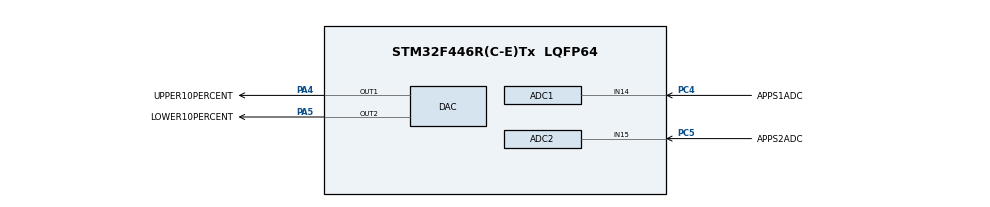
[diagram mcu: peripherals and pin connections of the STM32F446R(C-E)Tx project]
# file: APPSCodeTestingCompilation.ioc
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ADC1.Channel-0\#ChannelRegularConversion=ADC_CHANNEL_14
ADC1.NbrOfConversionFlag=1
ADC1.Rank-0\#ChannelRegularConversion=1
ADC1.SamplingTime-0\#ChannelRegularConversion=ADC_SAMPLETIME_3CYCLES
ADC1.master=1
ADC2.Channel-0\#ChannelRegularConversion=ADC_CHANNEL_15
ADC2.NbrOfConversionFlag=1
ADC2.Rank-0\#ChannelRegularConversion=1
ADC2.SamplingTime-0\#ChannelRegularConversion=ADC_SAMPLETIME_3CYCLES
Mcu.Family=STM32F4
Mcu.Name=STM32F446R(C-E)Tx
Mcu.Package=LQFP64
NVIC.PriorityGroup=NVIC_PRIORITYGROUP_4
NimaLTD.I-CUBE-EE.3.2.2.DriverJjEE=true
NimaLTD.I-CUBE-EE.3.2.2.EE_MANUAL_CONFIG=true
NimaLTD.I-CUBE-EE.3.2.2.EE_SELECTED_ADDRESS=0x08000000
NimaLTD.I-CUBE-EE.3.2.2.EE_SELECTED_PAGE_SECTOR_NUMBER=5
NimaLTD.I-CUBE-EE.3.2.2.EE_SELECTED_PAGE_SECTOR_SIZE=EE_PAGE_SECTOR_SIZE_128K
PA4.GPIO_Label=UPPER10PERCENT
PA4.Signal=COMP_DAC1_group
PA5.GPIO_Label=LOWER10PERCENT
PA5.Signal=COMP_DAC2_group
PC4.GPIO_Label=APPS1ADC
PC4.Signal=ADCx_IN14
PC5.GPIO_Label=APPS2ADC
PC5.Signal=ADCx_IN15
ProjectManager.HeapSize=0x200
ProjectManager.StackSize=0x400
ProjectManager.TargetToolchain=STM32CubeIDE
RCC.CortexFreq_Value=16000000
RCC.USBFreq_Value=96000000
RCC.VCOOutputFreq_Value=192000000
SH.ADCx_IN14.0=ADC1_IN14,IN14
SH.ADCx_IN15.0=ADC2_IN15,IN15
SH.COMP_DAC1_group.0=DAC_OUT1,DAC_OUT1
SH.COMP_DAC2_group.0=DAC_OUT2,DAC_OUT2
VP_NimaLTD.I-CUBE-EE_VS_DriverJjEE_1.0.0_3.2.2.Mode=DriverJjEE
board=custom

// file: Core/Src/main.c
/* USER CODE BEGIN Header */
/**
  ******************************************************************************
  * @file           : main.c
  * @brief          : Main program body
  ******************************************************************************
  * @attention
  *
  * Copyright (c) 2026 STMicroelectronics.
  * All rights reserved.
  *
  * This software is licensed under terms that can be found in the LICENSE file
  * in the root directory of this software component.
  * If no LICENSE file comes with this software, it is provided AS-IS.
  *
  ******************************************************************************
  */
/* USER CODE END Header */
#include "main.h"

/* USER CODE BEGIN Includes */
#include <stdlib.h>
#include <stdio.h>
#include <math.h>

// User made library to handle EEPROM using HAL libraries
// Github Page: https://github.com/nimaltd/ee
#include "ee.h"

/* USER CODE END Includes */

/* USER CODE BEGIN PTD */

typedef struct
{
 uint32_t sens1Lower;
 uint32_t sens2Lower;
 uint32_t sens1Upper;
 uint32_t sens2Upper;

} Storage_t;

/* USER CODE END PTD */

ADC_HandleTypeDef hadc1;
ADC_HandleTypeDef hadc2;

DAC_HandleTypeDef hdac;

/* USER CODE BEGIN PV */

Storage_t ee;

uint8_t X = 0;
volatile uint8_t EEWriteLatch = 0;

double sensAcceptibleDiff = 0.1;

//  Low to High Sensor
volatile uint16_t sens1PB0;

// High to Low Sensor
volatile uint16_t sens2PB1;

/* USER CODE END PV */

void SystemClock_Config(void);
static void MX_GPIO_Init(void);
static void MX_ADC1_Init(void);
static void MX_ADC2_Init(void);
static void MX_DAC_Init(void);

int main(void)
{

  /* MCU Configuration--------------------------------------------------------*/

  /* Reset of all peripherals, Initializes the Flash interface and the Systick. */
  HAL_Init();

  /* Configure the system clock */
  SystemClock_Config();

  /* Initialize all configured peripherals */
  MX_GPIO_Init();
  MX_ADC1_Init();
  MX_ADC2_Init();
  MX_DAC_Init();
  /* USER CODE BEGIN 2 */

  EE_Init(&ee, sizeof(Storage_t));
  EE_Read();

  EEWriteLatch = 1;

  /* USER CODE END 2 */

  /* Infinite loop */
  /* USER CODE BEGIN WHILE */
  while (1)
  {

	  HAL_ADC_Start(&hadc1); // start the adc
	  HAL_ADC_PollForConversion(&hadc1, 1000); // poll for conversion
	  sens1PB0 = HAL_ADC_GetValue(&hadc1); // get the adc value

	  HAL_ADC_Start(&hadc2); // start the adc
	  HAL_ADC_PollForConversion(&hadc2, 1000); // poll for conversion
	  sens2PB1 = HAL_ADC_GetValue(&hadc2); // get the adc value
	  HAL_ADC_Stop(&hadc1);
	  HAL_ADC_Stop(&hadc2);// stop adc

	  uint16_t sens1Range = abs(ee.sens1Upper - ee.sens1Lower);
	  uint16_t sens2Range = abs(ee.sens2Upper - ee.sens2Lower);

	  	  //double sens2PressPercent = (double)(sens2PB1 / abs(sens2UpperBound - sens2LowerBound));
	  	  //IF THE VALUE OF SENSOR 2 IS WITHIN THE UNNACCEPTIBLE BOUND THEN OUTPUT FLAT 0V
	  if(abs(sens2PB1 - sens1PB0)/(double)((sens1PB0 + sens2PB1) / 2) * 100 < 10.0) {
	  	HAL_DAC_SetValue(&hdac, DAC_CHANNEL_1, DAC_ALIGN_12B_R, 0); // 0–4095
	  	HAL_DAC_SetValue(&hdac, DAC_CHANNEL_2, DAC_ALIGN_12B_R, 0);
	  }
	  	else {
	  	  if(sens1Range < sens2Range) {
	  		HAL_DAC_SetValue(&hdac, DAC_CHANNEL_1, DAC_ALIGN_12B_R, abs(ee.sens1Lower - ee.sens2Lower) + sens1Range * sensAcceptibleDiff ); // 0–4095
	  		HAL_DAC_SetValue(&hdac, DAC_CHANNEL_2, DAC_ALIGN_12B_R, abs(ee.sens1Lower - ee.sens2Lower) - sens1Range * sensAcceptibleDiff );
	  	}
	  	  else {
	  		HAL_DAC_SetValue(&hdac, DAC_CHANNEL_1, DAC_ALIGN_12B_R, abs(ee.sens1Lower - ee.sens2Lower) + sens2Range * sensAcceptibleDiff); // 0–4095
	  		HAL_DAC_SetValue(&hdac, DAC_CHANNEL_2, DAC_ALIGN_12B_R, abs(ee.sens1Lower - ee.sens2Lower) - sens2Range * sensAcceptibleDiff);
	  	}
	  	  }

	//HAL_DAC_SetValue(&hdac, DAC_CHANNEL_1, DAC_ALIGN_12B_R, sens1PB0); // 0–4095
	//(&hdac, DAC_CHANNEL_2, DAC_ALIGN_12B_R, sens2PB1);

	if(EEWriteLatch == 1) {

		ee.sens1Lower = (int)((1.543/3.3) * 4095);
		ee.sens2Lower = (int)((0.87/3.3) * 4095);
		ee.sens1Upper = (int)((2.216/3.3) * 4095);
		ee.sens2Upper = (int)((1.543/3.3) * 4095);
		EE_Write();

		EEWriteLatch = 0;
	}

    /* USER CODE END WHILE */

    /* USER CODE BEGIN 3 */

	/* UART TERMINAL TRANSMITTING
	int len = snprintf((char*)MSG, sizeof(MSG), "Tracing X = %d\r\n", (int)ee.val1);
	HAL_UART_Transmit(&huart2, MSG, len, 100);  // fixed timeout, correct length
    HAL_GPIO_TogglePin(LD2_GPIO_Port, LD2_Pin);   // <--- add this
	HAL_Delay(200);
	 */
  }
  /* USER CODE END 3 */
}

void SystemClock_Config(void)
{
  RCC_OscInitTypeDef RCC_OscInitStruct = {0};
  RCC_ClkInitTypeDef RCC_ClkInitStruct = {0};

  /** Configure the main internal regulator output voltage
  */
  __HAL_RCC_PWR_CLK_ENABLE();
  __HAL_PWR_VOLTAGESCALING_CONFIG(PWR_REGULATOR_VOLTAGE_SCALE3);

  /** Initializes the RCC Oscillators according to the specified parameters
  * in the RCC_OscInitTypeDef structure.
  */
  RCC_OscInitStruct.OscillatorType = RCC_OSCILLATORTYPE_HSI;
  RCC_OscInitStruct.HSIState = RCC_HSI_ON;
  RCC_OscInitStruct.HSICalibrationValue = RCC_HSICALIBRATION_DEFAULT;
  RCC_OscInitStruct.PLL.PLLState = RCC_PLL_NONE;
  if (HAL_RCC_OscConfig(&RCC_OscInitStruct) != HAL_OK)
  {
    Error_Handler();
  }

  /** Initializes the CPU, AHB and APB buses clocks
  */
  RCC_ClkInitStruct.ClockType = RCC_CLOCKTYPE_HCLK|RCC_CLOCKTYPE_SYSCLK
                              |RCC_CLOCKTYPE_PCLK1|RCC_CLOCKTYPE_PCLK2;
  RCC_ClkInitStruct.SYSCLKSource = RCC_SYSCLKSOURCE_HSI;
  RCC_ClkInitStruct.AHBCLKDivider = RCC_SYSCLK_DIV1;
  RCC_ClkInitStruct.APB1CLKDivider = RCC_HCLK_DIV1;
  RCC_ClkInitStruct.APB2CLKDivider = RCC_HCLK_DIV1;

  if (HAL_RCC_ClockConfig(&RCC_ClkInitStruct, FLASH_LATENCY_0) != HAL_OK)
  {
    Error_Handler();
  }
}

static void MX_ADC1_Init(void)
{

  ADC_ChannelConfTypeDef sConfig = {0};

  /** Configure the global features of the ADC (Clock, Resolution, Data Alignment and number of conversion)
  */
  hadc1.Instance = ADC1;
  hadc1.Init.ClockPrescaler = ADC_CLOCK_SYNC_PCLK_DIV2;
  hadc1.Init.Resolution = ADC_RESOLUTION_12B;
  hadc1.Init.ScanConvMode = DISABLE;
  hadc1.Init.ContinuousConvMode = DISABLE;
  hadc1.Init.DiscontinuousConvMode = DISABLE;
  hadc1.Init.ExternalTrigConvEdge = ADC_EXTERNALTRIGCONVEDGE_NONE;
  hadc1.Init.ExternalTrigConv = ADC_SOFTWARE_START;
  hadc1.Init.DataAlign = ADC_DATAALIGN_RIGHT;
  hadc1.Init.NbrOfConversion = 1;
  hadc1.Init.DMAContinuousRequests = DISABLE;
  hadc1.Init.EOCSelection = ADC_EOC_SINGLE_CONV;
  if (HAL_ADC_Init(&hadc1) != HAL_OK)
  {
    Error_Handler();
  }

  /** Configure for the selected ADC regular channel its corresponding rank in the sequencer and its sample time.
  */
  sConfig.Channel = ADC_CHANNEL_14;
  sConfig.Rank = 1;
  sConfig.SamplingTime = ADC_SAMPLETIME_3CYCLES;
  if (HAL_ADC_ConfigChannel(&hadc1, &sConfig) != HAL_OK)
  {
    Error_Handler();
  }

}

static void MX_ADC2_Init(void)
{

  ADC_ChannelConfTypeDef sConfig = {0};

  /** Configure the global features of the ADC (Clock, Resolution, Data Alignment and number of conversion)
  */
  hadc2.Instance = ADC2;
  hadc2.Init.ClockPrescaler = ADC_CLOCK_SYNC_PCLK_DIV2;
  hadc2.Init.Resolution = ADC_RESOLUTION_12B;
  hadc2.Init.ScanConvMode = DISABLE;
  hadc2.Init.ContinuousConvMode = DISABLE;
  hadc2.Init.DiscontinuousConvMode = DISABLE;
  hadc2.Init.ExternalTrigConvEdge = ADC_EXTERNALTRIGCONVEDGE_NONE;
  hadc2.Init.ExternalTrigConv = ADC_SOFTWARE_START;
  hadc2.Init.DataAlign = ADC_DATAALIGN_RIGHT;
  hadc2.Init.NbrOfConversion = 1;
  hadc2.Init.DMAContinuousRequests = DISABLE;
  hadc2.Init.EOCSelection = ADC_EOC_SINGLE_CONV;
  if (HAL_ADC_Init(&hadc2) != HAL_OK)
  {
    Error_Handler();
  }

  /** Configure for the selected ADC regular channel its corresponding rank in the sequencer and its sample time.
  */
  sConfig.Channel = ADC_CHANNEL_15;
  sConfig.Rank = 1;
  sConfig.SamplingTime = ADC_SAMPLETIME_3CYCLES;
  if (HAL_ADC_ConfigChannel(&hadc2, &sConfig) != HAL_OK)
  {
    Error_Handler();
  }

}

static void MX_DAC_Init(void)
{

  DAC_ChannelConfTypeDef sConfig = {0};

  /** DAC Initialization
  */
  hdac.Instance = DAC;
  if (HAL_DAC_Init(&hdac) != HAL_OK)
  {
    Error_Handler();
  }

  /** DAC channel OUT1 config
  */
  sConfig.DAC_Trigger = DAC_TRIGGER_NONE;
  sConfig.DAC_OutputBuffer = DAC_OUTPUTBUFFER_ENABLE;
  if (HAL_DAC_ConfigChannel(&hdac, &sConfig, DAC_CHANNEL_1) != HAL_OK)
  {
    Error_Handler();
  }

  /** DAC channel OUT2 config
  */
  if (HAL_DAC_ConfigChannel(&hdac, &sConfig, DAC_CHANNEL_2) != HAL_OK)
  {
    Error_Handler();
  }

}

static void MX_GPIO_Init(void)
{

  /* GPIO Ports Clock Enable */
  __HAL_RCC_GPIOA_CLK_ENABLE();
  __HAL_RCC_GPIOC_CLK_ENABLE();

}

void Error_Handler(void)
{
  __disable_irq();
  while (1)
  {
  }
}
